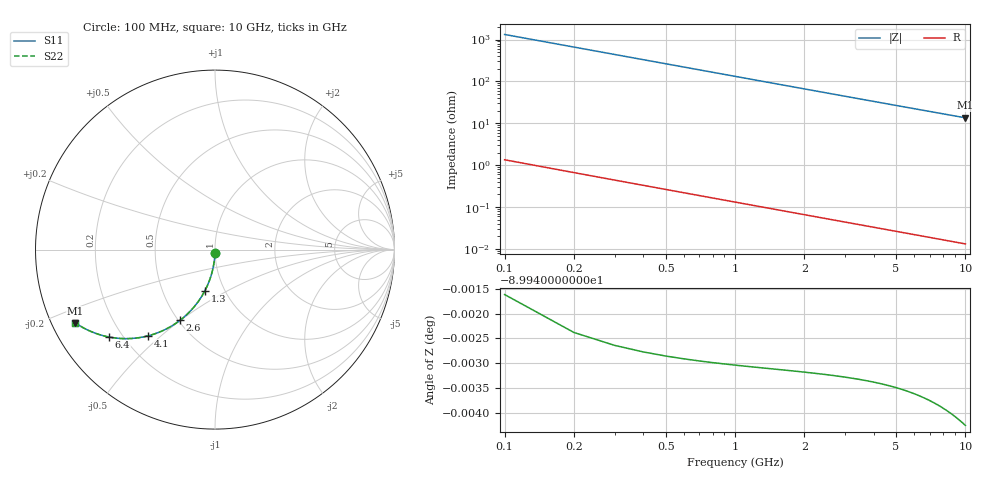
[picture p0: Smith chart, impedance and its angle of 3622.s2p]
# Hz S RI R 50.00
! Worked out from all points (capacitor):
!   100 points, 100 MHz to 10 GHz, reference 50 ohm
!   read as one part in shunt: C = 1.21 pF near 100 MHz
!   lowest |Z| = 13.5 ohm at 10 GHz (marker M1)
!   S11 on the Smith chart (normalised r, x): 100 MHz: 1.00, -0.04; 1.3 GHz: 0.81, -0.39; 2.6 GHz: 0.51, -0.50; 4.1 GHz: 0.30, -0.45; 6.4 GHz: 0.15, -0.35; 10 GHz: 0.07, -0.25
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1e8  -0.000367 -0.0189  0.9996 -0.019  0.9996 -0.019  -0.000367 -0.0189
2e8  -0.00146 -0.0377  0.9985 -0.0379  0.9985 -0.0379  -0.00146 -0.0377
3e8  -0.00326 -0.0564  0.9967 -0.0568  0.9967 -0.0568  -0.00326 -0.0564
4e8  -0.00576 -0.075  0.9942 -0.0755  0.9942 -0.0755  -0.00576 -0.075
5e8  -0.00896 -0.0934  0.991 -0.0941  0.991 -0.0941  -0.00896 -0.0934
6e8  -0.0128 -0.1117  0.9872 -0.1124  0.9872 -0.1124  -0.0128 -0.1117
7e8  -0.0174 -0.1297  0.9826 -0.1306  0.9826 -0.1306  -0.0174 -0.1297
8e8  -0.0225 -0.1474  0.9775 -0.1484  0.9775 -0.1484  -0.0225 -0.1474
1e9  -0.0347 -0.1819  0.9653 -0.1832  0.9653 -0.1832  -0.0347 -0.1819
1.3e9  -0.0571 -0.2308  0.9428 -0.2325  0.9428 -0.2325  -0.0571 -0.2308
1.5e9  -0.0746 -0.2613  0.9254 -0.2632  0.9254 -0.2632  -0.0746 -0.2613
1.8e9  -0.1038 -0.3034  0.8961 -0.3057  0.8961 -0.3057  -0.1038 -0.3034
2.2e9  -0.1473 -0.3525  0.8527 -0.3553  0.8527 -0.3553  -0.1473 -0.3525
2.6e9  -0.1941 -0.3933  0.8059 -0.3967  0.8059 -0.3967  -0.1941 -0.3933
3.4e9  -0.291 -0.4515  0.709 -0.4559  0.709 -0.4559  -0.291 -0.4515
4.1e9  -0.3731 -0.4805  0.6268 -0.4858  0.6268 -0.4858  -0.3731 -0.4805
5.1e9  -0.4786 -0.4957  0.5213 -0.5024  0.5213 -0.5024  -0.4786 -0.4957
6.4e9  -0.5903 -0.4871  0.4096 -0.4955  0.4096 -0.4955  -0.5903 -0.4871
6.7e9  -0.6121 -0.4823  0.3878 -0.4912  0.3878 -0.4912  -0.6121 -0.4823
7.5e9  -0.6638 -0.4669  0.3361 -0.4769  0.3361 -0.4769  -0.6638 -0.4669
8.4e9  -0.7121 -0.4467  0.2878 -0.4579  0.2878 -0.4579  -0.7121 -0.4467
1e10  -0.7777 -0.4085  0.2221 -0.4219  0.2221 -0.4219  -0.7777 -0.4085
